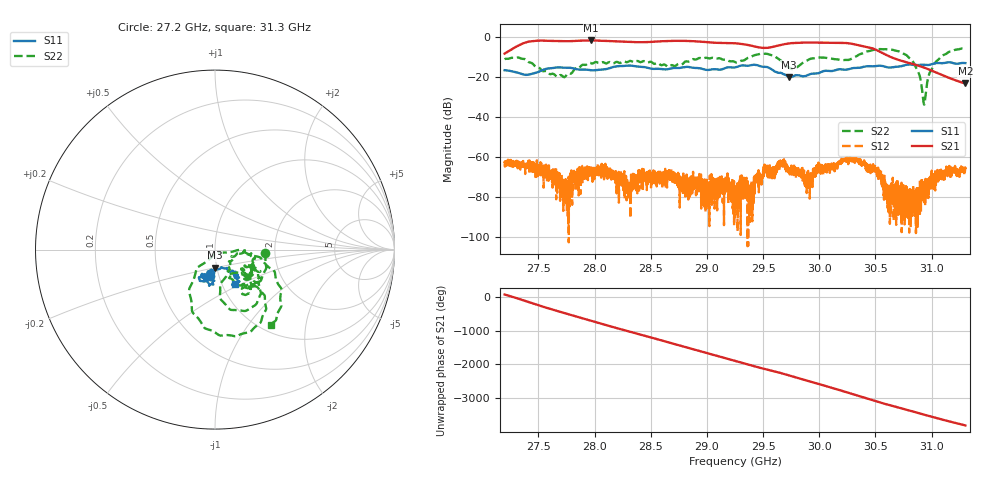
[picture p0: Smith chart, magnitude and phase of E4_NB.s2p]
!Keysight Technologies,N5245B,MY63058204,A.19.30.04
!Date: Friday, March 20, 2026 10:10:39
!Correction: S11(C  2-Port  )
!S21(C  2-Port  )
!S12(C  2-Port  )
!S22(C  2-Port  )
!S2P File: Measurements: S11, S21, S12, S22:
# Hz S  dB  R 50
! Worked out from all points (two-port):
!   4101 points, 27.2 GHz to 31.3 GHz, reference 50 ohm
!   highest |S21| = -1.73 dB at 27.97 GHz (marker M1); lowest = -23.2 dB at 31.3 GHz (marker M2)
!   |S21| within 3 dB of the highest: 27.31 GHz to 29.42 GHz (2.116 GHz wide, 7.46 % of centre); 29.6 GHz to 30.4 GHz (797.4 MHz wide, 2.66 % of centre)
!   lowest |S11| = -19.9 dB at 29.73 GHz (marker M3), VSWR 1.22, Z = 48.9 - j9.96 ohm
!   |S11| at or under -10 dB: start of sweep to end of sweep
!   |S22| runs from -33.8 to -5.7 dB; largest |S21 - S12| = 0.82
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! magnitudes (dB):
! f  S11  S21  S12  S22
! 27.2 GHz  -16.6  -8.3  -62.9  -11.1
! 27.52 GHz  -16.9  -1.8  -62.8  -16.3
! 27.75 GHz  -15.3  -2.1  -76.4  -19.1
! 27.88 GHz  -16.3  -1.8  -64.9  -14.2
! 27.97 GHz  -16.6  -1.7  -68.0  -13.1
! 28.15 GHz  -15.2  -2.1  -66.6  -12.9
! 28.3 GHz  -14.3  -2.4  -76.5  -12.2
! 28.41 GHz  -14.8  -2.6  -69.9  -12.6
! 28.57 GHz  -15.9  -2.2  -68.3  -13.1
! 29.25 GHz  -15.2  -3.1  -79.1  -12.5
! 29.31 GHz  -14.2  -3.5  -77.9  -11.9
! 29.39 GHz  -14.1  -4.3  -75.0  -9.8
! 29.53 GHz  -14.9  -5.4  -66.6  -8.3
! 29.73 GHz  -19.9  -3.2  -67.2  -15.2
! 29.93 GHz  -18.3  -2.8  -74.6  -10.7
! 30.33 GHz  -15.4  -3.8  -61.1  -9.8
! 30.5 GHz  -14.6  -6.2  -65.0  -6.3
! 30.62 GHz  -15.2  -9.5  -85.1  -6.3
! 30.83 GHz  -13.9  -13.5  -83.1  -12.0
! 30.93 GHz  -13.9  -15.3  -73.1  -33.8
! 31.04 GHz  -13.0  -17.7  -68.1  -12.2
! 31.3 GHz  -13.0  -23.2  -65.1  -5.7
